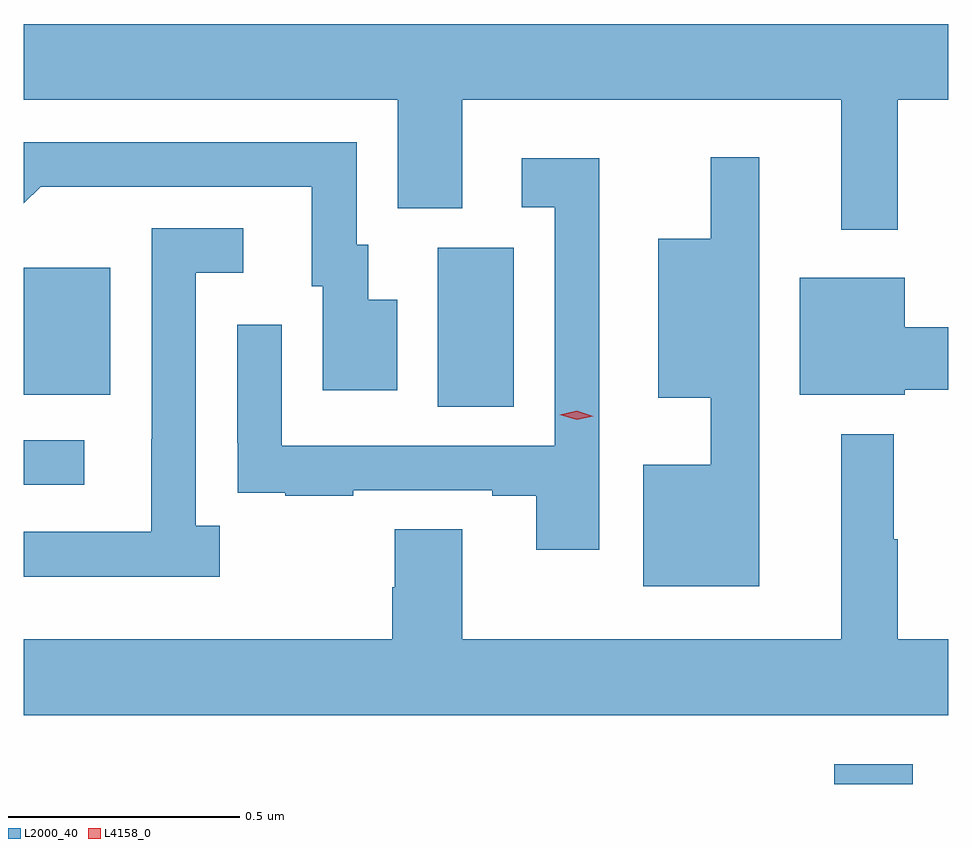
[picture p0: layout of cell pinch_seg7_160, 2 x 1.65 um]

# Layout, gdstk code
import gdstk
lib = gdstk.Library(unit=1e-6, precision=1e-09)
def R(c, l, rs):  # rectangles x0, y0, x1, y1
    for r in rs: c.add(gdstk.rectangle(r[:2], r[2:], *l))
def P(c, l, *ps):  # polygons
    for p in ps: c.add(gdstk.Polygon(p, *l))
L2000_40 = (2000, 40)
L4158_0 = (4158, 0)

pinch_seg7_160 = lib.new_cell('pinch_seg7_160')
R(pinch_seg7_160, L2000_40, [(1055.33,1036.431,1055.5,1036.474), (1053.576,1037.079,1053.706,1037.175), (1054.472,1037.248,1054.636,1037.592), (1053.576,1037.273,1053.763,1037.548)])
P(pinch_seg7_160, L2000_40, [(1055.467,1037.912),(1055.576,1037.912),(1055.576,1038.076),(1053.576,1038.076),(1053.576,1037.912),(1054.385,1037.912),(1054.385,1037.677),(1054.525,1037.677),(1054.525,1037.912),(1055.345,1037.912),(1055.345,1037.631),(1055.467,1037.631)],
  [(1054.384,1037.479),(1054.321,1037.479),(1054.321,1037.598),(1054.296,1037.598),(1054.296,1037.82),(1053.576,1037.82),(1053.576,1037.688),(1053.612,1037.724),(1054.199,1037.724),(1054.199,1037.508),(1054.223,1037.508),(1054.223,1037.283),(1054.384,1037.283)],
  [(1055.167,1037.788),(1055.063,1037.788),(1055.063,1037.611),(1054.949,1037.611),(1054.949,1037.267),(1055.063,1037.267),(1055.063,1037.122),(1054.916,1037.122),(1054.916,1036.859),(1055.167,1036.859)],
  [(1054.821,1037.785),(1054.653,1037.785),(1054.653,1037.679),(1054.725,1037.679),(1054.725,1037.163),(1054.134,1037.163),(1054.134,1037.425),(1054.038,1037.425),(1054.038,1037.17),(1054.039,1037.17),(1054.039,1037.061),(1054.141,1037.061),(1054.141,1037.055),(1054.289,1037.055),(1054.289,1037.067),(1054.589,1037.067),(1054.589,1037.055),(1054.685,1037.055),(1054.685,1036.938),(1054.821,1036.938)],
  [(1054,1036.99),(1053.948,1036.99),(1053.948,1037.538),(1054.051,1037.538),(1054.051,1037.634),(1053.852,1037.634),(1053.852,1037.177),(1053.851,1037.177),(1053.851,1036.977),(1053.576,1036.977),(1053.576,1036.88),(1054,1036.88)],
  [(1055.482,1037.284),(1055.576,1037.284),(1055.576,1037.42),(1055.482,1037.42),(1055.482,1037.527),(1055.255,1037.527),(1055.255,1037.273),(1055.482,1037.273)],
  [(1055.576,1036.744),(1055.467,1036.744),(1055.467,1036.961),(1055.459,1036.961),(1055.459,1037.188),(1055.345,1037.188),(1055.345,1036.744),(1054.525,1036.744),(1054.525,1036.982),(1054.378,1036.982),(1054.378,1036.857),(1054.373,1036.857),(1054.373,1036.744),(1053.576,1036.744),(1053.576,1036.58),(1055.576,1036.58)])
P(pinch_seg7_160, L4158_0, [(1054.772,1037.219),(1054.736,1037.23),(1054.736,1037.23),(1054.736,1037.23),(1054.772,1037.239),(1054.808,1037.227),(1054.808,1037.227),(1054.808,1037.227)])

lib.write_gds('pinch_seg7_160.gds')
